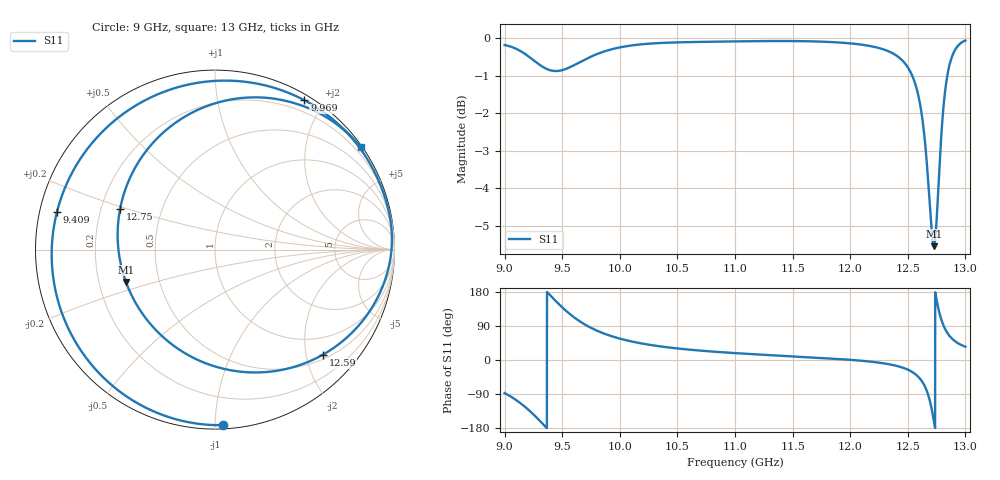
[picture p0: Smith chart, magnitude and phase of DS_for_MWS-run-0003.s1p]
! TOUCHSTONE file generated by CST DESIGN STUDIO
! Date and time: Tue Feb  4 16:27:41 2025
! Project name: C:\Work\MatlabApps\UnitCellOptimizationMatlab\CST\unitcell.cst
! Tree item: Tasks\Sweep1\SPara1\S-Parameters
! Header version: 2024
! Port assignment regex: !\s*Touchstone port\s*([0-9]+)\s*=\s*(CST MWS port|CST DES external port|CST DES block port)\s*(.+)\s* \(\"(.*)\"\)(\s*mode\s*([0-9]+))?.*
! Touchstone port assignment:
! Touchstone port 1 = CST DES external port 1 ("")
# GHz S MA R 50
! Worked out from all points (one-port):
!   4001 points, 9 GHz to 13 GHz, reference 50 ohm
!   lowest |S11| = -5.5 dB at 12.73 GHz (marker M1), VSWR 3.24, Z = 15.9 - j7.91 ohm
!   |S11| at or under -10 dB: nowhere
!   S11 on the Smith chart (normalised r, x): 9 GHz: 0.02, -1.05; 9.409 GHz: 0.05, +0.12; 9.969 GHz: 0.06, +1.76; 12.59 GHz: 0.59, -2.33; 12.75 GHz: 0.28, +0.19; 13 GHz: 0.04, +3.17
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9  0.9791 -87.2
9.105  0.9671 -106.8
9.195  0.9485 -128.2
9.31  0.9201 -161.8
9.409  0.9052 166.6
9.5  0.9065 139.0
9.586  0.9176 116.6
9.682  0.9339 96.4
9.82  0.9547 75.0
9.969  0.9697 59.1
10  0.972 56.5
10.216  0.9822 42.2
10.5  0.9872 30.5
11  0.9901 18.2
11.5  0.9911 9.7
12  0.9842 0.5
12.305  0.9642 -9.5
12.5  0.9145 -25.5
12.591  0.8391 -44.3
12.633  0.7666 -61.0
12.672  0.6602 -87.4
12.699  0.5736 -117.4
12.726  0.528 -160.1
12.751  0.575 156.9
12.787  0.7264 110.6
12.824  0.8501 81.8
12.898  0.9567 52.5
13  0.993 35.0
